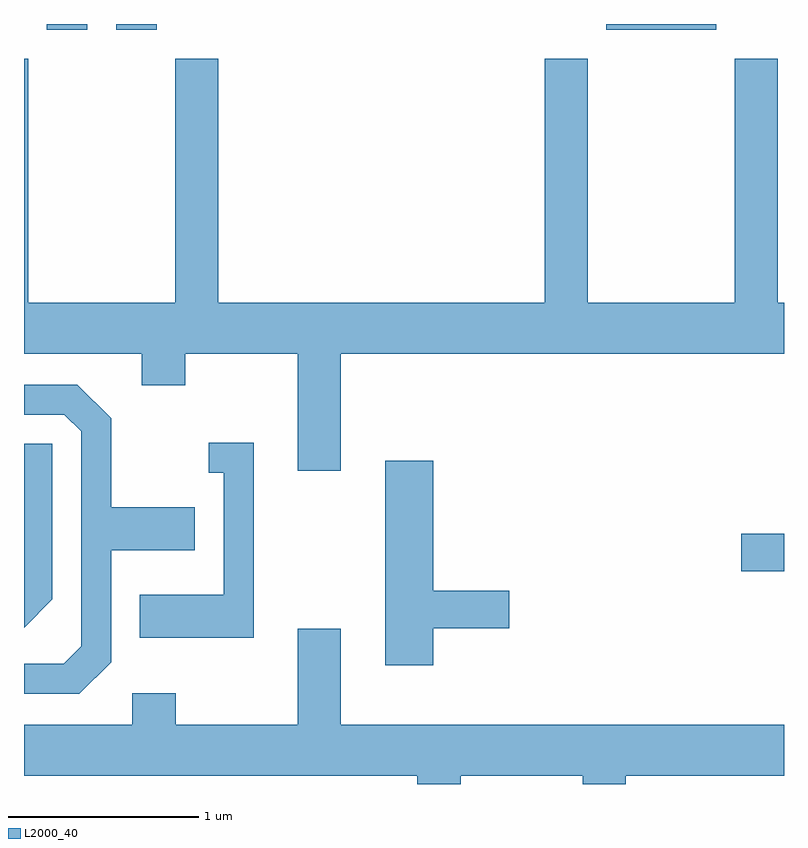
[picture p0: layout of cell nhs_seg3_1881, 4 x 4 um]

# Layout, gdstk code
import gdstk
lib = gdstk.Library(unit=1e-6, precision=1e-09)
def R(c, l, rs):  # rectangles x0, y0, x1, y1
    for r in rs: c.add(gdstk.rectangle(r[:2], r[2:], *l))
def P(c, l, *ps):  # polygons
    for p in ps: c.add(gdstk.Polygon(p, *l))
L2000_40 = (2000, 40)

nhs_seg3_1881 = lib.new_cell('nhs_seg3_1881')
R(nhs_seg3_1881, L2000_40, [(243.386,1207.011,243.611,1207.209), (239.731,1209.861,239.944,1209.892), (240.096,1209.861,240.309,1209.892), (242.676,1209.861,243.254,1209.892)])
P(nhs_seg3_1881, L2000_40, [(241.279,1208.156),(243.611,1208.156),(243.611,1208.424),(243.579,1208.424),(243.579,1209.709),(243.351,1209.709),(243.351,1208.424),(242.579,1208.424),(242.579,1209.709),(242.351,1209.709),(242.351,1208.424),(240.634,1208.424),(240.634,1209.709),(240.406,1209.709),(240.406,1208.424),(239.634,1208.424),(239.634,1209.709),(239.611,1209.709),(239.611,1208.156),(240.231,1208.156),(240.231,1207.991),(240.459,1207.991),(240.459,1208.156),(241.051,1208.156),(241.051,1207.541),(241.279,1207.541)],
  [(240.069,1206.534),(240.069,1207.121),(240.509,1207.121),(240.509,1207.349),(240.069,1207.349),(240.069,1207.817),(239.892,1207.994),(239.611,1207.994),(239.611,1207.836),(239.824,1207.836),(239.911,1207.749),(239.911,1206.617),(239.819,1206.524),(239.611,1206.524),(239.611,1206.366),(239.902,1206.366)],
  [(240.819,1207.689),(240.583,1207.689),(240.583,1207.531),(240.661,1207.531),(240.661,1206.889),(240.221,1206.889),(240.221,1206.661),(240.819,1206.661)],
  [(239.759,1206.864),(239.759,1207.684),(239.611,1207.684),(239.611,1206.715)],
  [(241.764,1206.711),(242.164,1206.711),(242.164,1206.909),(241.764,1206.909),(241.764,1207.594),(241.511,1207.594),(241.511,1206.516),(241.764,1206.516)],
  [(241.909,1205.936),(242.551,1205.936),(242.551,1205.892),(242.779,1205.892),(242.779,1205.936),(243.611,1205.936),(243.611,1206.204),(241.279,1206.204),(241.279,1206.709),(241.051,1206.709),(241.051,1206.204),(240.409,1206.204),(240.409,1206.369),(240.181,1206.369),(240.181,1206.204),(239.611,1206.204),(239.611,1205.936),(241.681,1205.936),(241.681,1205.892),(241.909,1205.892)])

lib.write_gds('nhs_seg3_1881.gds')
